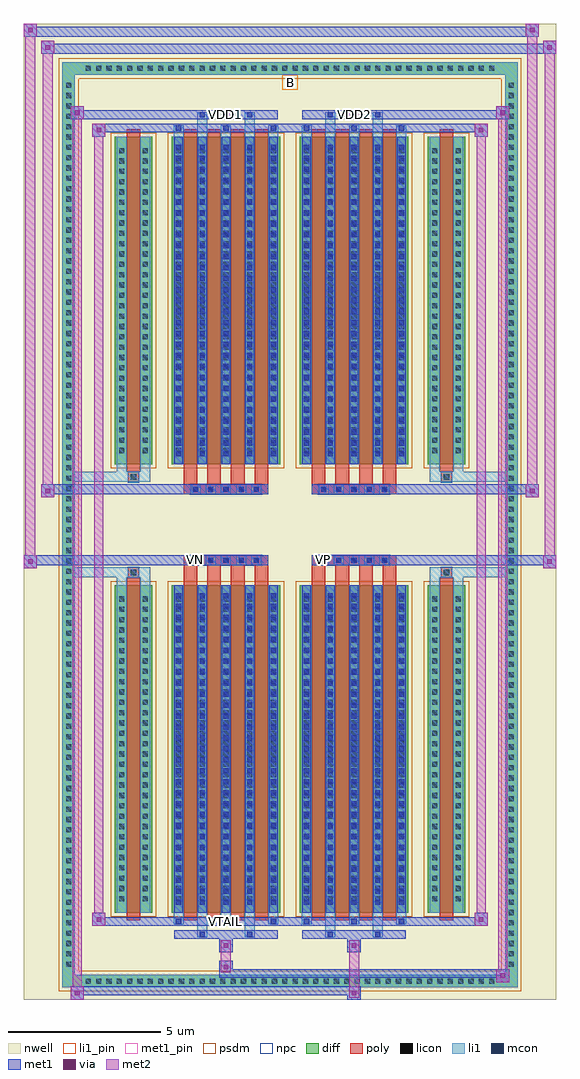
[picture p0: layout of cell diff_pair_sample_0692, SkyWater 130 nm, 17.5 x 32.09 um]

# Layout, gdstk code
import gdstk
lib = gdstk.Library(unit=1e-6, precision=5e-09)
def R(c, l, rs):  # rectangles x0, y0, x1, y1
    for r in rs: c.add(gdstk.rectangle(r[:2], r[2:], *l))
def A(c, l, x, y, w, h, nx, ny, dx, dy):  # array of equal rectangles
    R(c, l, [(x+i*dx, y+j*dy, x+i*dx+w, y+j*dy+h) for i in range(nx) for j in range(ny)])
def P(c, l, *ps):  # polygons
    for p in ps: c.add(gdstk.Polygon(p, *l))
nwell = (64, 20)
diff = (65, 20)
poly = (66, 20)
licon = (66, 44)
li1_pin = (67, 16)
li1 = (67, 20)
mcon = (67, 44)
met1_pin = (68, 16)
met1 = (68, 20)
via = (68, 44)
met2 = (69, 20)
psdm = (94, 20)
npc = (95, 20)

diff_pair_sample_0692 = lib.new_cell('diff_pair_sample_0692')
R(diff_pair_sample_0692, nwell, [(-8.75,-15.61,8.75,16.48), (-6.07,-13.8,-0.01,-0.8), (0.01,-13.8,6.07,-0.8), (-6.07,0.8,-0.01,13.8), (0.01,0.8,6.07,13.8)])
A(diff_pair_sample_0692, diff, -6.835, -15.21, 0.41, 0.41, 40, 2, 0.34, 30.01)
A(diff_pair_sample_0692, diff, -7.48, -14.655, 0.41, 0.41, 1, 86, 0, 0.34)
A(diff_pair_sample_0692, diff, 7.07, -14.655, 0.41, 0.41, 1, 86, 0, 0.34)
R(diff_pair_sample_0692, diff, [(-6.835,-15.21,6.835,-14.8), (-7.48,-14.655,-7.07,14.655), (7.07,-14.655,7.48,14.655), (-5.76,-12.755,-4.53,-1.985), (-3.89,-12.755,-0.32,-1.985), (0.32,-12.755,3.89,-1.985), (4.53,-12.755,5.76,-1.985), (-5.76,1.985,-4.53,12.755), (-3.89,1.985,-0.32,12.755), (0.32,1.985,3.89,12.755), (4.53,1.985,5.76,12.755), (-6.835,14.8,6.835,15.21)])
P(diff_pair_sample_0692, diff, [(7.48,15.21),(-7.48,15.21),(-7.48,-14.8),(-7.07,-14.8),(-7.07,14.8),(7.07,14.8),(7.07,-14.8),(-7.07,-14.8),(-7.48,-14.8),(-7.48,-15.21),(7.48,-15.21)])
A(diff_pair_sample_0692, poly, -3.5, -13.005, 0.45, 11.27, 4, 2, 0.78, 14.74)
A(diff_pair_sample_0692, poly, 0.71, -13.005, 0.45, 11.27, 4, 2, 0.78, 14.74)
A(diff_pair_sample_0692, poly, -3.5, -1.735, 0.45, 0.405, 4, 2, 0.78, 3.065)
A(diff_pair_sample_0692, poly, 0.71, -1.735, 0.45, 0.405, 4, 2, 0.78, 3.065)
A(diff_pair_sample_0692, poly, -3.27, -1.33, 0.33, 0.33, 5, 2, 0.5, 2.33)
A(diff_pair_sample_0692, poly, 0.94, -1.33, 0.33, 0.33, 5, 2, 0.5, 2.33)
R(diff_pair_sample_0692, poly, [(-5.37,-13.005,-4.92,-1.735), (4.92,-13.005,5.37,-1.735), (-5.31,-1.735,-4.98,-1.405), (-5.31,-1.735,-4.98,-1.405), (4.98,-1.735,5.31,-1.405), (4.98,-1.735,5.31,-1.405), (-3.5,-1.33,-0.71,-1), (0.71,-1.33,3.5,-1), (-3.5,1,-0.71,1.33), (0.71,1,3.5,1.33), (-5.31,1.405,-4.98,1.735), (-5.31,1.405,-4.98,1.735), (4.98,1.405,5.31,1.735), (4.98,1.405,5.31,1.735), (-5.37,1.735,-4.92,13.005), (4.92,1.735,5.37,13.005)])
A(diff_pair_sample_0692, licon, -6.715, -15.09, 0.17, 0.17, 40, 2, 0.34, 30.01)
A(diff_pair_sample_0692, licon, -7.36, -14.535, 0.17, 0.17, 1, 86, 0, 0.34)
A(diff_pair_sample_0692, licon, 7.19, -14.535, 0.17, 0.17, 1, 86, 0, 0.34)
A(diff_pair_sample_0692, licon, -5.62, -12.385, 0.17, 0.17, 1, 30, 0, 0.34)
A(diff_pair_sample_0692, licon, -4.84, -12.385, 0.17, 0.17, 1, 30, 0, 0.34)
A(diff_pair_sample_0692, licon, -3.75, -12.385, 0.17, 0.17, 5, 30, 0.78, 0.34)
A(diff_pair_sample_0692, licon, 0.46, -12.385, 0.17, 0.17, 5, 30, 0.78, 0.34)
A(diff_pair_sample_0692, licon, 4.67, -12.385, 0.17, 0.17, 1, 30, 0, 0.34)
A(diff_pair_sample_0692, licon, 5.45, -12.385, 0.17, 0.17, 1, 30, 0, 0.34)
A(diff_pair_sample_0692, licon, -3.19, -1.25, 0.17, 0.17, 5, 2, 0.5, 2.33)
A(diff_pair_sample_0692, licon, 1.02, -1.25, 0.17, 0.17, 5, 2, 0.5, 2.33)
A(diff_pair_sample_0692, licon, -5.62, 2.355, 0.17, 0.17, 1, 30, 0, 0.34)
A(diff_pair_sample_0692, licon, -4.84, 2.355, 0.17, 0.17, 1, 30, 0, 0.34)
A(diff_pair_sample_0692, licon, -3.75, 2.355, 0.17, 0.17, 5, 30, 0.78, 0.34)
A(diff_pair_sample_0692, licon, 0.46, 2.355, 0.17, 0.17, 5, 30, 0.78, 0.34)
A(diff_pair_sample_0692, licon, 4.67, 2.355, 0.17, 0.17, 1, 30, 0, 0.34)
A(diff_pair_sample_0692, licon, 5.45, 2.355, 0.17, 0.17, 1, 30, 0, 0.34)
R(diff_pair_sample_0692, licon, [(-5.23,-1.655,-5.06,-1.485), (5.06,-1.655,5.23,-1.485), (-5.23,1.485,-5.06,1.655), (5.06,1.485,5.23,1.655)])
R(diff_pair_sample_0692, li1_pin, [(-0.25,14.3,0.25,14.8)])
A(diff_pair_sample_0692, li1, -6.795, -15.17, 0.33, 0.33, 40, 2, 0.34, 30.01)
A(diff_pair_sample_0692, li1, -7.44, -14.615, 0.33, 0.33, 1, 86, 0, 0.34)
A(diff_pair_sample_0692, li1, 7.11, -14.615, 0.33, 0.33, 1, 86, 0, 0.34)
A(diff_pair_sample_0692, li1, -3.83, -13.13, 0.33, 0.375, 3, 2, 1.56, 25.885)
A(diff_pair_sample_0692, li1, -3.75, -13.13, 0.17, 0.17, 3, 2, 1.56, 26.09)
A(diff_pair_sample_0692, li1, 0.38, -13.13, 0.33, 0.375, 3, 2, 1.56, 25.885)
A(diff_pair_sample_0692, li1, 0.46, -13.13, 0.17, 0.17, 3, 2, 1.56, 26.09)
A(diff_pair_sample_0692, li1, -3.83, -12.755, 0.33, 10.77, 5, 2, 0.78, 14.74)
A(diff_pair_sample_0692, li1, 0.38, -12.755, 0.33, 10.77, 5, 2, 0.78, 14.74)
A(diff_pair_sample_0692, li1, -3.75, -12.495, 0.17, 0.17, 5, 29, 0.78, 0.36)
A(diff_pair_sample_0692, li1, -3.75, -12.495, 0.17, 10.25, 5, 2, 0.78, 14.74)
A(diff_pair_sample_0692, li1, 0.46, -12.495, 0.17, 0.17, 5, 29, 0.78, 0.36)
A(diff_pair_sample_0692, li1, 0.46, -12.495, 0.17, 10.25, 5, 2, 0.78, 14.74)
A(diff_pair_sample_0692, li1, -5.7, -12.465, 0.33, 0.33, 1, 30, 0, 0.34)
A(diff_pair_sample_0692, li1, -4.92, -12.465, 0.33, 0.33, 1, 30, 0, 0.34)
A(diff_pair_sample_0692, li1, -3.83, -12.465, 0.33, 0.33, 5, 30, 0.78, 0.34)
A(diff_pair_sample_0692, li1, 0.38, -12.465, 0.33, 0.33, 5, 30, 0.78, 0.34)
A(diff_pair_sample_0692, li1, 4.59, -12.465, 0.33, 0.33, 1, 30, 0, 0.34)
A(diff_pair_sample_0692, li1, 5.37, -12.465, 0.33, 0.33, 1, 30, 0, 0.34)
A(diff_pair_sample_0692, li1, -3.27, -1.33, 0.33, 0.33, 5, 2, 0.5, 2.33)
A(diff_pair_sample_0692, li1, 0.94, -1.33, 0.33, 0.33, 5, 2, 0.5, 2.33)
A(diff_pair_sample_0692, li1, -3.75, 2.245, 0.17, 0.17, 5, 29, 0.78, 0.36)
A(diff_pair_sample_0692, li1, 0.46, 2.245, 0.17, 0.17, 5, 29, 0.78, 0.36)
A(diff_pair_sample_0692, li1, -5.7, 2.275, 0.33, 0.33, 1, 30, 0, 0.34)
A(diff_pair_sample_0692, li1, -4.92, 2.275, 0.33, 0.33, 1, 30, 0, 0.34)
A(diff_pair_sample_0692, li1, -3.83, 2.275, 0.33, 0.33, 5, 30, 0.78, 0.34)
A(diff_pair_sample_0692, li1, 0.38, 2.275, 0.33, 0.33, 5, 30, 0.78, 0.34)
A(diff_pair_sample_0692, li1, 4.59, 2.275, 0.33, 0.33, 1, 30, 0, 0.34)
A(diff_pair_sample_0692, li1, 5.37, 2.275, 0.33, 0.33, 1, 30, 0, 0.34)
R(diff_pair_sample_0692, li1, [(-7.48,-15.21,-7.07,-14.8), (-7.48,-15.21,-7.07,-14.8), (-7.07,-15.21,7.07,-14.8), (7.07,-15.21,7.48,-14.8), (7.07,-15.21,7.48,-14.8), (-7.48,-14.8,-7.07,14.8), (7.07,-14.8,7.48,14.8), (-3.05,-13.56,-2.72,-12.755), (-2.97,-13.56,-2.8,-13.39), (-1.49,-13.56,-1.16,-12.755), (-1.41,-13.56,-1.24,-13.39), (1.16,-13.56,1.49,-12.755), (1.24,-13.56,1.41,-13.39), (2.72,-13.56,3.05,-12.755), (2.8,-13.56,2.97,-13.39), (-5.7,-12.755,-5.37,-1.985), (-4.92,-12.755,-4.59,-1.985), (4.59,-12.755,4.92,-1.985), (5.37,-12.755,5.7,-1.985), (-5.7,-1.985,-5.37,-1.405), (-4.92,-1.985,-4.59,-1.405), (4.59,-1.985,4.92,-1.405), (5.37,-1.985,5.7,-1.405), (-7.48,-1.735,-5.31,-1.405), (-5.7,-1.735,-5.31,-1.405), (-5.31,-1.735,-4.98,-1.405), (-4.98,-1.735,-4.59,-1.405), (4.59,-1.735,4.98,-1.405), (4.98,-1.735,5.31,-1.405), (4.98,-1.735,7.48,-1.405), (5.31,-1.735,5.7,-1.405), (-7.48,1.405,-5.31,1.735), (-5.7,1.405,-5.31,1.735), (-5.7,1.405,-5.37,1.985), (-5.31,1.405,-4.98,1.735), (-4.98,1.405,-4.59,1.735), (-4.92,1.405,-4.59,1.985), (4.59,1.405,4.98,1.735), (4.59,1.405,4.92,1.985), (4.98,1.405,5.31,1.735), (4.98,1.405,7.48,1.735), (5.31,1.405,5.7,1.735), (5.37,1.405,5.7,1.985), (-5.7,1.985,-5.37,12.755), (-4.92,1.985,-4.59,12.755), (4.59,1.985,4.92,12.755), (5.37,1.985,5.7,12.755), (-3.05,12.755,-2.72,13.56), (-1.49,12.755,-1.16,13.56), (1.16,12.755,1.49,13.56), (2.72,12.755,3.05,13.56), (-2.97,13.39,-2.8,13.56), (-1.41,13.39,-1.24,13.56), (1.24,13.39,1.41,13.56), (2.8,13.39,2.97,13.56), (-7.48,14.8,-7.07,15.21), (-7.48,14.8,-7.07,15.21), (-7.07,14.8,7.07,15.21), (7.07,14.8,7.48,15.21), (7.07,14.8,7.48,15.21)])
A(diff_pair_sample_0692, mcon, -3.75, -13.13, 0.17, 0.17, 3, 2, 1.56, 26.09)
A(diff_pair_sample_0692, mcon, 0.46, -13.13, 0.17, 0.17, 3, 2, 1.56, 26.09)
A(diff_pair_sample_0692, mcon, -3.75, -12.495, 0.17, 0.17, 5, 29, 0.78, 0.36)
A(diff_pair_sample_0692, mcon, 0.46, -12.495, 0.17, 0.17, 5, 29, 0.78, 0.36)
A(diff_pair_sample_0692, mcon, -3.19, -1.25, 0.17, 0.17, 5, 2, 0.5, 2.33)
A(diff_pair_sample_0692, mcon, 1.02, -1.25, 0.17, 0.17, 5, 2, 0.5, 2.33)
A(diff_pair_sample_0692, mcon, -3.75, 2.245, 0.17, 0.17, 5, 29, 0.78, 0.36)
A(diff_pair_sample_0692, mcon, 0.46, 2.245, 0.17, 0.17, 5, 29, 0.78, 0.36)
R(diff_pair_sample_0692, mcon, [(-2.97,-13.56,-2.8,-13.39), (-1.41,-13.56,-1.24,-13.39), (1.24,-13.56,1.41,-13.39), (2.8,-13.56,2.97,-13.39), (-2.97,13.39,-2.8,13.56), (-1.41,13.39,-1.24,13.56), (1.24,13.39,1.41,13.56), (2.8,13.39,2.97,13.56)])
R(diff_pair_sample_0692, met1_pin, [(-2.24,-13.17,-1.97,-12.9), (-3.24,-1.29,-2.97,-1.02), (0.97,-1.29,1.24,-1.02), (-2.24,13.35,-1.97,13.62), (1.97,13.35,2.24,13.62)])
A(diff_pair_sample_0692, met1, -3.81, -13.19, 0.29, 0.29, 3, 2, 1.56, 26.09)
A(diff_pair_sample_0692, met1, 0.4, -13.19, 0.29, 0.29, 3, 2, 1.56, 26.09)
A(diff_pair_sample_0692, met1, -3.81, -12.755, 0.29, 10.77, 5, 2, 0.78, 14.74)
A(diff_pair_sample_0692, met1, 0.4, -12.755, 0.29, 10.77, 5, 2, 0.78, 14.74)
A(diff_pair_sample_0692, met1, -3.81, -12.555, 0.29, 0.29, 5, 29, 0.78, 0.36)
A(diff_pair_sample_0692, met1, 0.4, -12.555, 0.29, 0.29, 5, 29, 0.78, 0.36)
A(diff_pair_sample_0692, met1, -3.25, -1.31, 0.29, 0.29, 5, 2, 0.5, 2.33)
A(diff_pair_sample_0692, met1, 0.96, -1.31, 0.29, 0.29, 5, 2, 0.5, 2.33)
A(diff_pair_sample_0692, met1, -3.81, 2.185, 0.29, 0.29, 5, 29, 0.78, 0.36)
A(diff_pair_sample_0692, met1, 0.4, 2.185, 0.29, 0.29, 5, 29, 0.78, 0.36)
R(diff_pair_sample_0692, met1, [(-7.21,-15.61,-6.78,-15.18), (1.89,-15.61,2.32,-15.18), (-7.21,-15.47,2.32,-15.18), (6.78,-15.04,7.21,-14.61), (-2.32,-14.9,7.21,-14.61), (-2.32,-14.76,-1.89,-14.33), (-2.32,-14.05,-1.89,-13.62), (1.89,-14.05,2.32,-13.62), (-3.81,-13.62,-0.4,-13.33), (-3.03,-13.62,-2.74,-13.33), (-1.47,-13.62,-1.18,-13.33), (0.4,-13.62,3.81,-13.33), (1.18,-13.62,1.47,-13.33), (2.74,-13.62,3.03,-13.33), (-6.5,-13.19,-6.07,-12.76), (-6.5,-13.19,-3.81,-12.9), (-3.81,-13.19,-0.4,-12.9), (-0.4,-13.19,0.4,-12.9), (0.4,-13.19,3.81,-12.9), (3.81,-13.19,6.5,-12.9), (6.07,-13.19,6.5,-12.76), (-8.75,-1.43,-8.32,-1), (8.32,-1.43,8.75,-1), (-8.75,-1.33,-0.71,-1), (-3.5,-1.33,-0.71,-1), (0.71,-1.33,3.5,-1), (0.71,-1.33,8.75,-1), (-8.18,0.9,-7.75,1.33), (7.75,0.9,8.18,1.33), (-8.18,1,-3.5,1.33), (-3.5,1,-0.71,1.33), (0.71,1,3.5,1.33), (3.5,1,8.18,1.33), (-6.5,12.76,-6.07,13.19), (6.07,12.76,6.5,13.19), (-6.5,12.9,-3.81,13.19), (-3.81,12.9,-0.4,13.19), (-0.4,12.9,0.4,13.19), (0.4,12.9,3.81,13.19), (3.81,12.9,6.5,13.19), (-7.21,13.33,-6.78,13.76), (-7.21,13.33,-3.81,13.62), (-3.81,13.33,-0.4,13.62), (-3.03,13.33,-2.74,13.62), (-1.47,13.33,-1.18,13.62), (0.4,13.33,3.81,13.62), (1.18,13.33,1.47,13.62), (2.74,13.33,3.03,13.62), (3.81,13.33,7.21,13.62), (6.78,13.33,7.21,13.76), (-8.18,15.48,-7.75,15.91), (-8.18,15.48,-6.07,15.81), (-6.07,15.48,6.07,15.81), (6.07,15.48,8.75,15.81), (8.32,15.48,8.75,15.91), (-8.75,16.05,-8.32,16.48), (-8.75,16.05,-6.07,16.38), (-6.07,16.05,6.07,16.38), (6.07,16.05,8.18,16.38), (7.75,16.05,8.18,16.48)])
R(diff_pair_sample_0692, via, [(-7.07,-15.47,-6.92,-15.32), (2.03,-15.47,2.18,-15.32), (6.92,-14.9,7.07,-14.75), (-2.18,-14.62,-2.03,-14.47), (-2.18,-13.91,-2.03,-13.76), (2.03,-13.91,2.18,-13.76), (-6.36,-13.05,-6.21,-12.9), (6.21,-13.05,6.36,-12.9), (-8.61,-1.29,-8.46,-1.14), (8.46,-1.29,8.61,-1.14), (-8.04,1.04,-7.89,1.19), (7.89,1.04,8.04,1.19), (-6.36,12.9,-6.21,13.05), (6.21,12.9,6.36,13.05), (-7.07,13.47,-6.92,13.62), (6.92,13.47,7.07,13.62), (-8.04,15.62,-7.89,15.77), (8.46,15.62,8.61,15.77), (-8.61,16.19,-8.46,16.34), (7.89,16.19,8.04,16.34)])
R(diff_pair_sample_0692, met2, [(-7.21,-15.61,-6.78,-15.18), (-7.14,-15.61,-6.85,13.76), (-6.85,-15.61,-6.78,-15.18), (-7.16,-15.56,-6.83,-15.23), (1.94,-15.56,2.27,-15.23), (1.94,-15.23,2.27,-14), (6.78,-15.04,7.21,-14.61), (6.85,-15.04,7.14,13.76), (7.14,-15.04,7.21,-14.61), (6.83,-14.99,7.16,-14.66), (-2.27,-14.71,-1.94,-14.38), (-2.27,-14.38,-1.94,-14), (-2.27,-14,-1.94,-13.67), (1.94,-14,2.27,-13.67), (-6.5,-13.19,-6.07,-12.76), (-6.43,-13.19,-6.14,13.19), (-6.14,-13.19,-6.07,-12.76), (6.07,-13.19,6.5,-12.76), (6.14,-13.19,6.43,13.19), (6.43,-13.19,6.5,-12.76), (-6.45,-13.14,-6.12,-12.81), (6.12,-13.14,6.45,-12.81), (-8.75,-1.43,-8.32,-1), (-8.7,-1.43,-8.37,16.48), (-8.37,-1.43,-8.32,-1), (8.32,-1.43,8.75,-1), (8.37,-1.43,8.7,15.91), (8.7,-1.43,8.75,-1), (-8.7,-1.38,-8.37,-1.05), (8.37,-1.38,8.7,-1.05), (-8.18,0.9,-7.75,1.33), (-8.13,0.9,-7.8,15.91), (-7.8,0.9,-7.75,1.33), (7.75,0.9,8.18,1.33), (7.8,0.9,8.13,16.48), (8.13,0.9,8.18,1.33), (-8.13,0.95,-7.8,1.28), (7.8,0.95,8.13,1.28), (-6.5,12.76,-6.07,13.19), (-6.14,12.76,-6.07,13.19), (6.07,12.76,6.5,13.19), (6.43,12.76,6.5,13.19), (-6.45,12.81,-6.12,13.14), (6.12,12.81,6.45,13.14), (-7.21,13.33,-6.78,13.76), (-6.85,13.33,-6.78,13.76), (6.78,13.33,7.21,13.76), (7.14,13.33,7.21,13.76), (-7.16,13.38,-6.83,13.71), (6.83,13.38,7.16,13.71), (-8.18,15.48,-7.75,15.91), (-7.8,15.48,-7.75,15.91), (8.32,15.48,8.75,15.91), (8.7,15.48,8.75,15.91), (-8.13,15.53,-7.8,15.86), (8.37,15.53,8.7,15.86), (-8.75,16.05,-8.32,16.48), (-8.37,16.05,-8.32,16.48), (7.75,16.05,8.18,16.48), (8.13,16.05,8.18,16.48), (-8.7,16.1,-8.37,16.43), (7.8,16.1,8.13,16.43)])
R(diff_pair_sample_0692, psdm, [(-5.89,-12.885,-4.4,-1.855), (-4.02,-12.885,-0.19,-1.855), (0.19,-12.885,4.02,-1.855), (4.4,-12.885,5.89,-1.855), (-5.89,1.855,-4.4,12.885), (-4.02,1.855,-0.19,12.885), (0.19,1.855,4.02,12.885), (4.4,1.855,5.89,12.885)])
P(diff_pair_sample_0692, psdm, [(7.61,15.34),(-7.61,15.34),(-7.61,-14.67),(-6.94,-14.67),(-6.94,14.67),(6.94,14.67),(6.94,-14.67),(-6.94,-14.67),(-7.61,-14.67),(-7.61,-15.34),(7.61,-15.34)])
A(diff_pair_sample_0692, npc, -3.29, -1.35, 0.37, 0.37, 5, 2, 0.5, 2.33)
A(diff_pair_sample_0692, npc, 0.92, -1.35, 0.37, 0.37, 5, 2, 0.5, 2.33)
R(diff_pair_sample_0692, npc, [(-5.33,-1.755,-4.96,-1.385), (4.96,-1.755,5.33,-1.385), (-3.29,-1.35,-2.42,-0.98), (-3.29,-1.35,-2.42,-0.98), (-2.79,-1.35,-1.92,-0.98), (-2.79,-1.35,-1.92,-0.98), (-2.29,-1.35,-1.42,-0.98), (-2.29,-1.35,-1.42,-0.98), (-1.79,-1.35,-0.92,-0.98), (-1.79,-1.35,-0.92,-0.98), (0.92,-1.35,1.79,-0.98), (0.92,-1.35,1.79,-0.98), (1.42,-1.35,2.29,-0.98), (1.42,-1.35,2.29,-0.98), (1.92,-1.35,2.79,-0.98), (1.92,-1.35,2.79,-0.98), (2.42,-1.35,3.29,-0.98), (2.42,-1.35,3.29,-0.98), (-3.29,0.98,-2.42,1.35), (-3.29,0.98,-2.42,1.35), (-2.79,0.98,-1.92,1.35), (-2.79,0.98,-1.92,1.35), (-2.29,0.98,-1.42,1.35), (-2.29,0.98,-1.42,1.35), (-1.79,0.98,-0.92,1.35), (-1.79,0.98,-0.92,1.35), (0.92,0.98,1.79,1.35), (0.92,0.98,1.79,1.35), (1.42,0.98,2.29,1.35), (1.42,0.98,2.29,1.35), (1.92,0.98,2.79,1.35), (1.92,0.98,2.79,1.35), (2.42,0.98,3.29,1.35), (2.42,0.98,3.29,1.35), (-5.33,1.385,-4.96,1.755), (4.96,1.385,5.33,1.755)])
diff_pair_sample_0692.add(gdstk.Label('VTAIL', (-2.105,-13.035), layer=68, texttype=5))
diff_pair_sample_0692.add(gdstk.Label('VN', (-3.105,-1.155), layer=68, texttype=5))
diff_pair_sample_0692.add(gdstk.Label('VP', (1.105,-1.155), layer=68, texttype=5))
diff_pair_sample_0692.add(gdstk.Label('B', (0,14.55), layer=67, texttype=5))
diff_pair_sample_0692.add(gdstk.Label('VDD2', (2.105,13.485), layer=68, texttype=5))
diff_pair_sample_0692.add(gdstk.Label('VDD1', (-2.105,13.485), layer=68, texttype=5))

lib.write_gds('diff_pair_sample_0692.gds')
